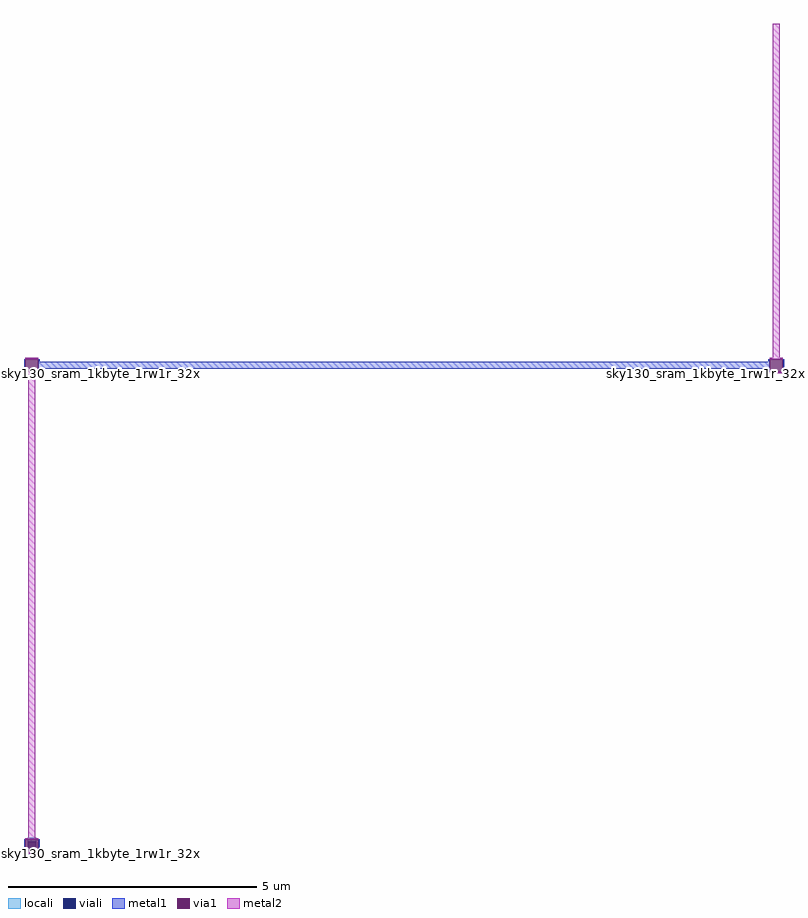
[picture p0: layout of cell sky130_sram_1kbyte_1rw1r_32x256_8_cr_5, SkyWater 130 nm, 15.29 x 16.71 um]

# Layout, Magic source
magic
tech sky130A
magscale 1 2
<< locali >>
rect 61039 65470 61073 65486
rect 61039 65420 61073 65436
<< viali >>
rect 61039 65436 61073 65470
<< metal1 >>
rect 61024 67361 61030 67413
rect 61082 67401 61088 67413
rect 64019 67401 64025 67413
rect 61082 67373 64025 67401
rect 61082 67361 61088 67373
rect 64019 67361 64025 67373
rect 64077 67361 64083 67413
rect 61024 65427 61030 65479
rect 61082 65427 61088 65479
<< via1 >>
rect 61030 67361 61082 67413
rect 64025 67361 64077 67413
rect 61030 65470 61082 65479
rect 61030 65436 61039 65470
rect 61039 65436 61073 65470
rect 61073 65436 61082 65470
rect 61030 65427 61082 65436
<< metal2 >>
rect 64037 67419 64065 68762
rect 61030 67413 61082 67419
rect 61030 67355 61082 67361
rect 64025 67413 64077 67419
rect 64025 67355 64077 67361
rect 61042 65485 61070 67355
rect 61030 65479 61082 65485
rect 61030 65421 61082 65427
use sky130_sram_1kbyte_1rw1r_32x256_8_contact_19  sky130_sram_1kbyte_1rw1r_32x256_8_contact_19_0
transform 1 0 64019 0 1 67355
box 0 0 1 1
use sky130_sram_1kbyte_1rw1r_32x256_8_contact_19  sky130_sram_1kbyte_1rw1r_32x256_8_contact_19_1
transform 1 0 61024 0 1 65421
box 0 0 1 1
use sky130_sram_1kbyte_1rw1r_32x256_8_contact_14  sky130_sram_1kbyte_1rw1r_32x256_8_contact_14_0
transform 1 0 61027 0 1 65420
box 0 0 1 1
use sky130_sram_1kbyte_1rw1r_32x256_8_contact_19  sky130_sram_1kbyte_1rw1r_32x256_8_contact_19_2
transform 1 0 61024 0 1 67355
box 0 0 1 1
<< properties >>
string FIXED_BBOX 61024 65420 64083 68762
string GDS_FILE $PDKPATH/libs.ref/sky130_sram_macros/gds/sky130_sram_1kbyte_1rw1r_32x256_8.gds
string GDS_END 7291198
string GDS_START 7290450
<< end >>
